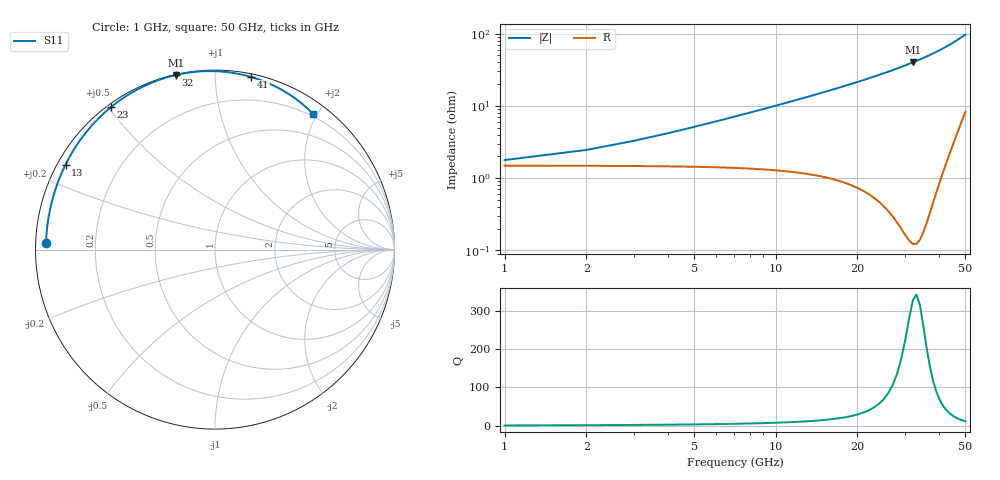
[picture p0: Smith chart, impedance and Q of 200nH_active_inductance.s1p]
! Created Thu Mar 12 11:02:29 2026
# hz S ma R 50
! Port[1] TermG1
! 1 Port Network Data from SP1.SP block
! freq  magS11  angS11
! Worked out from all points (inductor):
!   50 points, 1 GHz to 50 GHz, reference 50 ohm
!   read as one part to ground: L = 158 pH near 5 GHz
!   highest Q = 327 at 32 GHz (marker M1), where L = 199 pH
!   S11 on the Smith chart (normalised r, x): 1 GHz: 0.03, +0.02; 13 GHz: 0.02, +0.26; 23 GHz: 0.01, +0.51; 32 GHz: 0.00, +0.80; 41 GHz: 0.02, +1.23; 50 GHz: 0.17, +1.95
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1e9  0.9422 177.8
3e9  0.943 173.3
5e9  0.9446 168.7
8e9  0.9484 161.9
1.1e10  0.9538 155.0
1.3e10  0.958 150.4
1.4e10  0.9603 148.0
1.7e10  0.9678 140.8
2e10  0.9756 133.5
2.1e10  0.9782 131.0
2.3e10  0.9831 126.0
2.6e10  0.9898 118.4
2.8e10  0.9933 113.2
2.9e10  0.9946 110.5
3.1e10  0.9966 105.2
3.2e10  0.997 102.5
3.4e10  0.9968 97.1
3.5e10  0.9962 94.4
3.7e10  0.9935 89.0
3.8e10  0.9915 86.3
3.9e10  0.9891 83.5
4.1e10  0.9828 78.1
4.2e10  0.9789 75.4
4.4e10  0.9699 70.0
4.5e10  0.9647 67.3
4.7e10  0.9532 61.9
4.9e10  0.9401 56.7
5e10  0.9331 54.1
